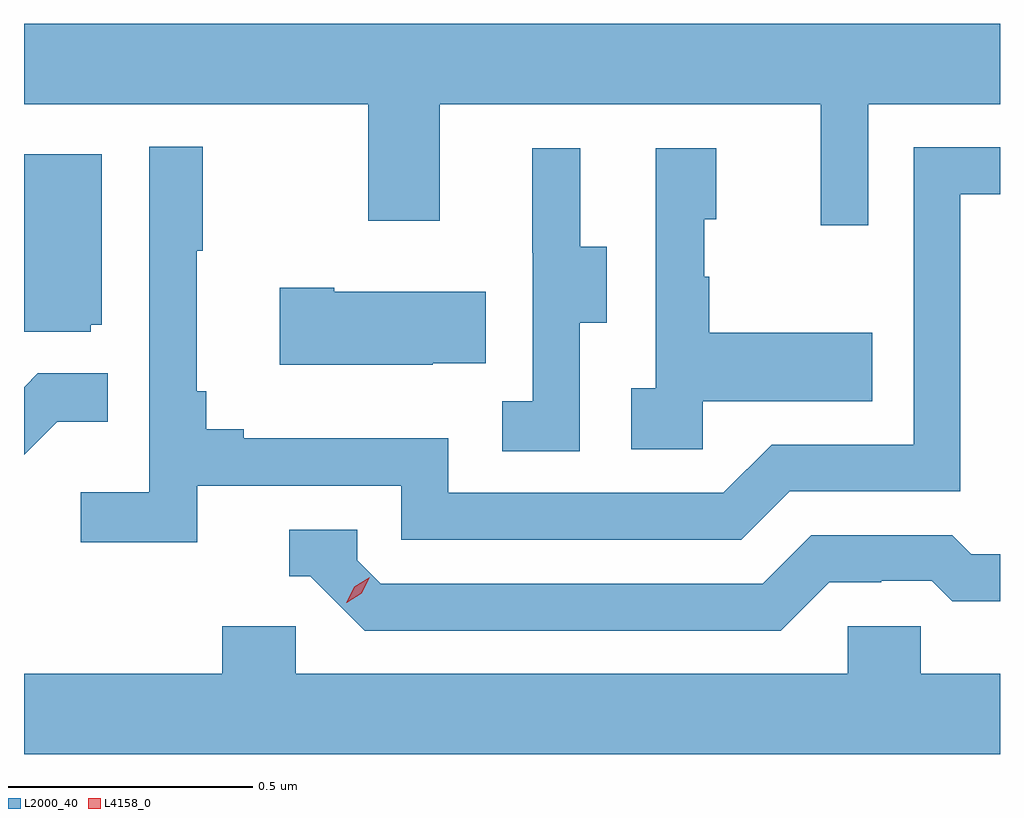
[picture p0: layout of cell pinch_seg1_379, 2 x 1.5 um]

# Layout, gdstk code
import gdstk
lib = gdstk.Library(unit=1e-6, precision=1e-09)
def P(c, l, *ps):  # polygons
    for p in ps: c.add(gdstk.Polygon(p, *l))
L2000_40 = (2000, 40)
L4158_0 = (4158, 0)

pinch_seg1_379 = lib.new_cell('pinch_seg1_379')
P(pinch_seg1_379, L2000_40, [(972.045,542.408),(972.315,542.408),(972.315,542.572),(970.315,542.572),(970.315,542.408),(971.02,542.408),(971.02,542.169),(971.167,542.169),(971.167,542.408),(971.948,542.408),(971.948,542.16),(972.045,542.16)],
  [(970.67,541.626),(971.088,541.626),(971.088,541.515),(971.785,541.515),(971.884,541.614),(972.234,541.614),(972.234,542.223),(972.315,542.223),(972.315,542.319),(972.138,542.319),(972.138,541.71),(971.847,541.71),(971.748,541.611),(971.184,541.611),(971.184,541.723),(970.765,541.723),(970.765,541.742),(970.688,541.742),(970.688,541.819),(970.669,541.819),(970.669,542.107),(970.681,542.107),(970.681,542.32),(970.572,542.32),(970.572,541.612),(970.431,541.612),(970.431,541.51),(970.67,541.51)],
  [(971.706,541.799),(972.053,541.799),(972.053,541.939),(971.719,541.939),(971.719,542.054),(971.709,542.054),(971.709,542.172),(971.734,542.172),(971.734,542.317),(971.61,542.317),(971.61,541.826),(971.559,541.826),(971.559,541.701),(971.706,541.701)],
  [(971.454,541.96),(971.509,541.96),(971.509,542.115),(971.455,542.115),(971.455,542.317),(971.357,542.317),(971.357,542.103),(971.358,542.103),(971.358,541.799),(971.295,541.799),(971.295,541.696),(971.454,541.696)],
  [(970.452,541.956),(970.474,541.956),(970.474,542.305),(970.316,542.305),(970.316,542.05),(970.315,542.05),(970.315,541.941),(970.452,541.941)],
  [(971.153,541.877),(971.261,541.877),(971.261,542.023),(970.951,542.023),(970.951,542.031),(970.839,542.031),(970.839,541.874),(971.153,541.874)],
  [(970.383,541.757),(970.487,541.757),(970.487,541.856),(970.343,541.856),(970.315,541.828),(970.315,541.689)],
  [(971.965,541.428),(972.072,541.428),(972.072,541.431),(972.175,541.431),(972.217,541.389),(972.315,541.389),(972.315,541.485),(972.256,541.485),(972.217,541.524),(971.928,541.524),(971.829,541.425),(971.046,541.425),(970.998,541.473),(970.998,541.536),(970.859,541.536),(970.859,541.44),(970.902,541.44),(971.013,541.329),(971.866,541.329)],
  [(972.315,541.24),(972.153,541.24),(972.153,541.338),(972.003,541.338),(972.003,541.24),(970.872,541.24),(970.872,541.338),(970.721,541.338),(970.721,541.24),(970.315,541.24),(970.315,541.076),(972.315,541.076)])
P(pinch_seg1_379, L4158_0, [(970.975,541.386),(970.975,541.386),(970.992,541.419),(971.023,541.438),(971.023,541.438),(971.023,541.438),(971.007,541.405),(970.976,541.386)])

lib.write_gds('pinch_seg1_379.gds')
